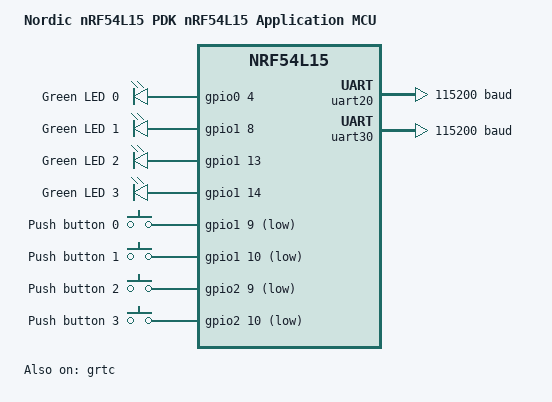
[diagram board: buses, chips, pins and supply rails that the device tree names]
/*
 * Copyright (c) 2024 Nordic Semiconductor ASA
 *
 * SPDX-License-Identifier: Apache-2.0
 */

/dts-v1/;
#include <nordic/nrf54l15_cpuapp.dtsi>
#include "nrf54l15pdk_nrf54l15_cpuapp-pinctrl.dtsi"
#include <zephyr/dt-bindings/input/input-event-codes.h>

/ {
	model = "Nordic nRF54L15 PDK nRF54L15 Application MCU";
	compatible = "nordic,nrf54l15pdk_nrf54l15-cpuapp";

	chosen {
		zephyr,console = &uart20;
		zephyr,shell-uart = &uart20;
		zephyr,sram = &sram0;
		zephyr,flash = &rram0;
		zephyr,code-partition = &slot0_partition;
		zephyr,ieee802154 = &ieee802154;
	};

	leds {
		compatible = "gpio-leds";
		led0: led_0 {
			gpios = <&gpio0 4 GPIO_ACTIVE_HIGH>;
			label = "Green LED 0";
		};
		led1: led_1 {
			gpios = <&gpio1 8 GPIO_ACTIVE_HIGH>;
			label = "Green LED 1";
		};
		led2: led_2 {
			gpios = <&gpio1 13 GPIO_ACTIVE_HIGH>;
			label = "Green LED 2";
		};
		led3: led_3 {
			gpios = <&gpio1 14 GPIO_ACTIVE_HIGH>;
			label = "Green LED 3";
		};
	};

	buttons {
		compatible = "gpio-keys";
		button0: button_0 {
			gpios = <&gpio1 9 (GPIO_PULL_UP | GPIO_ACTIVE_LOW)>;
			label = "Push button 0";
			zephyr,code = <INPUT_KEY_0>;
		};
		button1: button_1 {
			gpios = <&gpio1 10 (GPIO_PULL_UP | GPIO_ACTIVE_LOW)>;
			label = "Push button 1";
			zephyr,code = <INPUT_KEY_1>;
		};
		button2: button_2 {
			gpios = <&gpio2 9 (GPIO_PULL_UP | GPIO_ACTIVE_LOW)>;
			label = "Push button 2";
			zephyr,code = <INPUT_KEY_2>;
		};
		button3: button_3 {
			gpios = <&gpio2 10 (GPIO_PULL_UP | GPIO_ACTIVE_LOW)>;
			label = "Push button 3";
			zephyr,code = <INPUT_KEY_3>;
		};
	};

	aliases {
		led0 = &led0;
		led1 = &led1;
		led2 = &led2;
		led3 = &led3;
		watchdog0 = &wdt30;
		sw0 = &button0;
		sw1 = &button1;
		sw2 = &button2;
		sw3 = &button3;
	};
};

&lfxo {
	load-capacitors = "internal";
	load-capacitance-femtofarad = <15500>;
};

&hfxo {
	load-capacitors = "internal";
	load-capacitance-femtofarad = <15000>;
};

&uart20 {
	status = "okay";
	current-speed = <115200>;
	pinctrl-0 = <&uart20_default>;
	pinctrl-1 = <&uart20_sleep>;
	pinctrl-names = "default", "sleep";
};

&uart30 {
	current-speed = <115200>;
	pinctrl-0 = <&uart30_default>;
	pinctrl-1 = <&uart30_sleep>;
	pinctrl-names = "default", "sleep";
};

&grtc {
	status = "okay";
};

&gpio0 {
	status = "okay";
};

&gpio1 {
	status = "okay";
};

&gpio2 {
	status = "okay";
};

&gpiote20 {
	status = "okay";
};

&gpiote30 {
	status = "okay";
};

&rram0 {
	partitions {
		compatible = "fixed-partitions";
		#address-cells = <1>;
		#size-cells = <1>;
		slot0_partition: partition@0 {
			label = "image-0";
			reg = <0x0 DT_SIZE_K(64)>;
		};
		storage_partition: partition@f2000 {
			label = "storage";
			reg = <0xf2000 DT_SIZE_K(24)>;
		};
	};
};

&clock {
	status = "okay";
};
